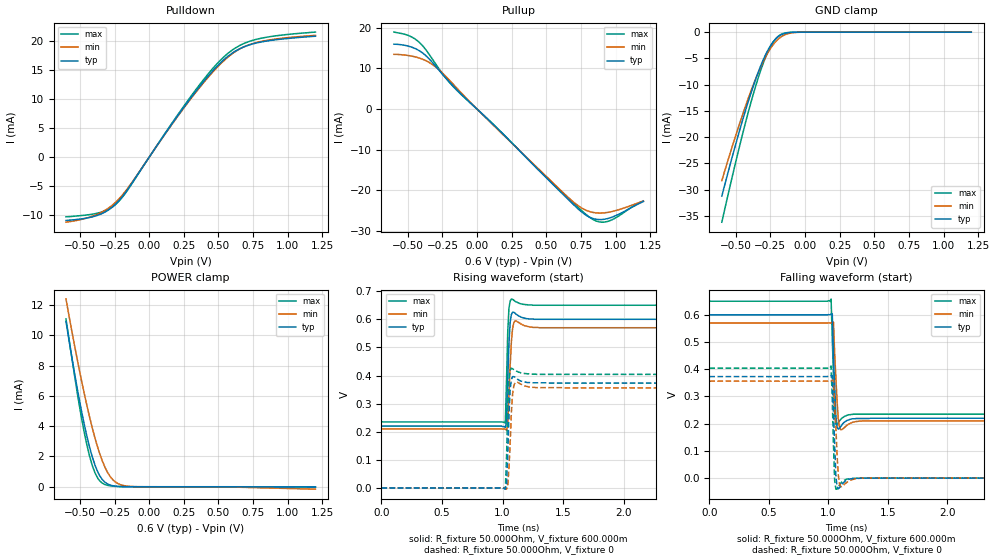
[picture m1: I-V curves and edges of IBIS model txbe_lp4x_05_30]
| [Disclaimer]
| Copyright (c) 2020 Synopsys Inc.All rights reserved
| From t736_lpddr4x_allwinner_v0p1.ibs, dwc_ddrphy_txbe, allwinner
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[Model] txbe_lp4x_05_30
Model_type   I/O
Polarity   Non-Inverting
Enable   Active-High
C_comp   1.523pF   1.517pF   1.527pF
C_comp_pullup   281.396fF   276.622fF   283.141fF
C_comp_pulldown 1.179pF   1.179pF   1.183pF
Vinh = 360.000mV
Vinl = 307.000mV
Vmeas = 300.000mV
Vref = 300.000mV
Rref = 50Ohms
Cref = 0pF
[Model Spec]
Vinh   360.000mV   345.000mV   450.000mV
Vinl   307.000mV   293.000mV   330.000mV
Vmeas   300.000mV   285.000mV   325.000mV
Vref   300.000mV   285.000mV   325.000mV
D_overshoot_ampl_h 0.1 NA   NA
D_overshoot_ampl_l 0.1 NA   NA
D_overshoot_area_l 300.000m NA   NA
D_overshoot_area_h 300.000m NA   NA
[Receiver Thresholds]
Vth = 163.000mV
Vth_min = 143.000mV
Vth_max = 150.000mV
Vinh_ac = 60.000mV
Vinh_dc = 60.000mV
Vinl_ac = -60.000mV
Vinl_dc = -60.000mV
Tslew_ac = 5.000ns
Threshold_sensitivity = 0.5
Reference_supply Pullup_ref
[Temperature Range]   25.000   125.000   -40.000
[Voltage Range]   600.000mV   570.000mV   650.000mV
[GND Clamp Reference]   0.00V   0.00V   0.00V
[C Comp Corner]
| variable   typ   min   max
C_comp 1.523pF   1.527pF   1.517pF
C_comp_pullup 281.396fF   283.141fF   276.622fF
C_comp_pulldown 1.179pF   1.183pF   1.179pF
[Pulldown Reference]   0.00V   0.00V   0.00V
[POWER Clamp Reference]   600.000mV   570.000mV   650.000mV
[Pullup Reference]   600.000mV   570.000mV   650.000mV
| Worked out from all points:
|   slope of the pulldown table from 0 to 0.09 V, typ, clamps not added: 28.3 ohm
|   slope of the pullup table from 0 to 0.09 V, typ, clamps not added: 31 ohm
|   GND clamp passes 1 mA (typ) near -0.20 V on its own axis
|   POWER clamp passes 1 mA (typ) near -0.37 V on its own axis
|   rising waveform, R_fixture 50.000Ohm, V_fixture 600.000m: 20-80 % time 17.3ps typ, 22.5ps min, 15.6ps max; typ from 0.22 V to 0.6 V
|   rising waveform, R_fixture 50.000Ohm, V_fixture 0: 20-80 % time 18.4ps typ, 22.2ps min, 16ps max; typ from 0 V to 0.373 V
|   falling waveform, R_fixture 50.000Ohm, V_fixture 600.000m: 20-80 % time 18.9ps typ, 23.9ps min, 17.1ps max; typ from 0.6 V to 0.22 V
|   falling waveform, R_fixture 50.000Ohm, V_fixture 0: 20-80 % time 18.6ps typ, 24.3ps min, 16.2ps max; typ from 0.373 V to 0 V
[GND Clamp]
-600mV    -31.22mA   -28.27mA   -36.19mA
-520mV    -23.28mA   -21.37mA   -26.99mA
-450mV    -16.74mA   -15.69mA   -19.38mA
-390mV    -11.62mA   -11.22mA   -13.38mA
-350mV    -8.525mA   -8.504mA   -9.76mA
-300mV    -5.19mA    -5.531mA   -5.831mA
-260mV    -3.064mA   -3.57mA    -3.325mA
-230mV    -1.852mA   -2.39mA    -1.909mA
-190mV    -786.8uA   -1.239mA   -707.9uA
-130mV    -143.8uA   -342.1uA   -87.78uA
-40mV     -4.532uA   -19.09uA   -1.525uA
1.2V      1.311uA    15.49uA    381.8nA
[Power Clamp]
-600mV    10.91mA    12.39mA    11.07mA
-540mV    7.576mA    9.402mA    7.435mA
-490mV    5.088mA    7.093mA    4.645mA
-450mV    3.363mA    5.394mA    2.787mA
-410mV    1.961mA    3.868mA    1.391mA
-370mV    961.9uA    2.559mA    550.9uA
-340mV    496.2uA    1.753mA    248.6uA
-300mV    180.3uA    945.4uA    90.25uA
-250mV    46.9uA     359uA      29.19uA
-190mV    8.475uA    89.17uA    6.144uA
-120mV    854.5nA    14.07uA    451.4nA
1.2V      -21.99uA   -159.5uA   -4.464uA
[Pulldown]
-600mV    -10.91mA   -11.21mA   -10.28mA
-370mV    -10.01mA   -9.805mA   -9.63mA
-300mV    -9.208mA   -8.886mA   -9.056mA
-230mV    -7.823mA   -7.49mA    -7.871mA
-150mV    -5.383mA   -5.21mA    -5.484mA
110mV     3.881mA    3.821mA    3.958mA
310mV     10.53mA    10.38mA    10.78mA
460mV     14.92mA    14.72mA    15.33mA
570mV     17.45mA    17.29mA    17.95mA
680mV     19mA       19mA       19.58mA
790mV     19.79mA    19.88mA    20.43mA
1.2V      20.87mA    21.02mA    21.59mA
[Pullup]
-600mV    15.98mA    13.48mA    18.95mA
-500mV    15.54mA    13.21mA    18.17mA
-430mV    14.62mA    12.7mA     16.82mA
-370mV    13.17mA    11.93mA    14.63mA
-300mV    10.6mA     10.41mA    11.16mA
-150mV    4.896mA    5.306mA    4.763mA
640mV     -21.63mA   -21.16mA   -21.32mA
750mV     -25.17mA   -24.22mA   -24.8mA
830mV     -26.85mA   -25.37mA   -27.01mA
880mV     -27.17mA   -25.56mA   -27.73mA
950mV     -26.84mA   -25.36mA   -27.55mA
1.2V      -22.74mA   -22.62mA   -22.58mA
[Ramp]
R_load=50.000Ohm
dV/dt_r   225.891mV/17.500ps  214.731mV/22.000ps  245.698mV/15.000ps
dV/dt_f   225.891mV/19.000ps  214.731mV/24.000ps  245.698mV/15.500ps
[Rising waveform]
R_fixture=50.000Ohm
V_fixture=600.000m
V_fixture_min=570.000m
V_fixture_max=650.000m
0s        220mV      210mV      235mV
1.023ns   215mV      209mV      231mV
1.033ns   235mV      206mV      381mV
1.043ns   388mV      227mV      555mV
1.053ns   514mV      338mV      639mV
1.063ns   589mV      435mV      665mV
1.073ns   617mV      520mV      672mV
1.103ns   622mV      594mV      664mV
1.303ns   600mV      570mV      650mV
10ns      600mV      570mV      650mV
[Rising waveform]
R_fixture=50.000Ohm
V_fixture=0
0s        28.86uV    230.6uV    5.581uV
1.023ns   -4.332mV   -1.21mV    -3.968mV
1.033ns   7.86mV     -4.163mV   108mV
1.043ns   120mV      6.533mV    287mV
1.053ns   257mV      69.55mV    389mV
1.063ns   352mV      160mV      419mV
1.073ns   386mV      269mV      426mV
1.093ns   396mV      363mV      421mV
1.113ns   391mV      377mV      416mV
10ns      373mV      356mV      404mV
[Falling waveform]
R_fixture=50.000Ohm
V_fixture=600.000m
V_fixture_min=570.000m
V_fixture_max=650.000m
0s        600mV      570mV      650mV
1.023ns   603mV      570mV      658mV
1.033ns   604mV      574mV      515mV
1.043ns   442mV      573mV      363mV
1.053ns   337mV      458mV      232mV
1.063ns   230mV      369mV      198mV
1.073ns   188mV      285mV      197mV
1.103ns   189mV      178mV      215mV
1.283ns   219mV      210mV      235mV
10ns      220mV      210mV      235mV
[Falling waveform]
R_fixture=50.000Ohm
V_fixture=0
0s        373mV      356mV      404mV
1.023ns   377mV      357mV      412mV
1.033ns   377mV      360mV      286mV
1.043ns   238mV      360mV      123mV
1.053ns   122mV      264mV      -8.165mV
1.063ns   10.65mV    189mV      -40.16mV
1.073ns   -32.11mV   86.71mV    -40.72mV
1.093ns   -35.88mV   -19.6mV    -25.73mV
1.113ns   -23.39mV   -31.13mV   -14.55mV
10ns      30.44uV    231.1uV    6.895uV
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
